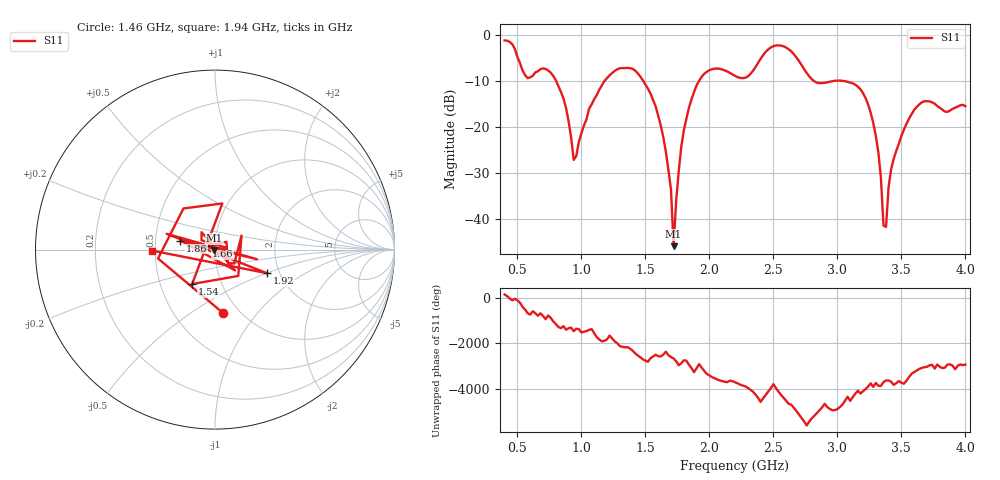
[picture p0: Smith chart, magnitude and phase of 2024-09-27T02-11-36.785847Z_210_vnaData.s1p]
!Created with skrf (http://scikit-rf.org).
# Hz S RI R 50.0
!freq ReS11 ImS11
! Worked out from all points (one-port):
!   181 points, 400 MHz to 4 GHz, reference 50 ohm
!   lowest |S11| = -46.0 dB at 1.72 GHz (marker M1), VSWR 1.01, Z = 49.7 - j0.361 ohm
!   |S11| at or under -10 dB: 802.7 MHz to 1.18 GHz (377.3 MHz wide, 38.1 % of centre); 1.483 GHz to 1.919 GHz (435.7 MHz wide, 25.6 % of centre); 3.048 GHz to end of sweep (the widest 3 of 4)
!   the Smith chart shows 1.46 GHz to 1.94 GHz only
!   S11 on the Smith chart (normalised r, x): 1.46 GHz: 0.84, -0.68; 1.54 GHz: 0.72, -0.29; 1.66 GHz: 0.90, +0.03; 1.86 GHz: 0.67, +0.07; 1.92 GHz: 1.72, -0.51; 1.94 GHz: 0.48, -0.01
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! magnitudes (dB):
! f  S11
! 400 MHz  -1.2
! 580 MHz  -9.4
! 720 MHz  -7.4
! 860 MHz  -13.8
! 940 MHz  -27.2
! 1.06 GHz  -16.0
! 1.3 GHz  -7.2
! 1.46 GHz  -9.0
! 1.54 GHz  -12.8
! 1.66 GHz  -25.4
! 1.7 GHz  -33.7
! 1.72 GHz  -46.0
! 1.76 GHz  -29.7
! 1.86 GHz  -14.0
! 1.92 GHz  -9.9
! 1.94 GHz  -9.1
! 2.2 GHz  -8.9
! 2.5 GHz  -2.4
! 2.66 GHz  -4.2
! 2.84 GHz  -10.4
! 3.1 GHz  -10.3
! 3.28 GHz  -19.1
! 3.34 GHz  -31.0
! 3.36 GHz  -41.4
! 3.38 GHz  -41.8
! 3.42 GHz  -29.2
! 3.56 GHz  -18.2
! 4 GHz  -15.5
